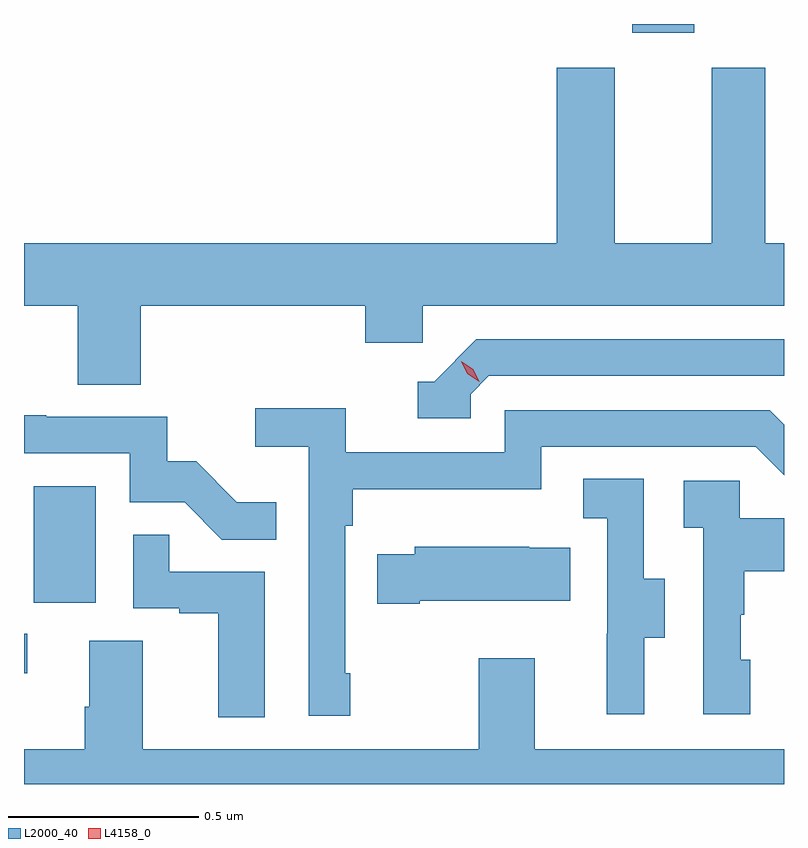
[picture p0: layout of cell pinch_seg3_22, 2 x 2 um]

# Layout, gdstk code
import gdstk
lib = gdstk.Library(unit=1e-6, precision=1e-09)
def R(c, l, rs):  # rectangles x0, y0, x1, y1
    for r in rs: c.add(gdstk.rectangle(r[:2], r[2:], *l))
def P(c, l, *ps):  # polygons
    for p in ps: c.add(gdstk.Polygon(p, *l))
L2000_40 = (2000, 40)
L4158_0 = (4158, 0)

pinch_seg3_22 = lib.new_cell('pinch_seg3_22')
R(pinch_seg3_22, L2000_40, [(1097.917,731.916,1097.926,732.021), (1097.942,732.102,1098.106,732.409), (1099.517,733.602,1099.681,733.625)])
P(pinch_seg3_22, L2000_40, [(1098.224,732.884),(1098.815,732.884),(1098.815,732.786),(1098.966,732.786),(1098.966,732.884),(1099.917,732.884),(1099.917,733.048),(1099.867,733.048),(1099.867,733.51),(1099.727,733.51),(1099.727,733.048),(1099.471,733.048),(1099.471,733.51),(1099.319,733.51),(1099.319,733.048),(1097.917,733.048),(1097.917,732.884),(1098.059,732.884),(1098.059,732.676),(1098.224,732.676)],
  [(1099.092,732.651),(1099.14,732.699),(1099.917,732.699),(1099.917,732.795),(1099.107,732.795),(1098.996,732.684),(1098.953,732.684),(1098.953,732.588),(1099.092,732.588)],
  [(1098.775,731.917),(1098.762,731.917),(1098.762,732.305),(1098.782,732.305),(1098.782,732.401),(1099.278,732.401),(1099.278,732.513),(1099.842,732.513),(1099.917,732.438),(1099.917,732.571),(1099.879,732.609),(1099.182,732.609),(1099.182,732.498),(1098.764,732.498),(1098.764,732.614),(1098.525,732.614),(1098.525,732.512),(1098.666,732.512),(1098.666,731.805),(1098.775,731.805)],
  [(1098.581,732.367),(1098.477,732.367),(1098.37,732.474),(1098.294,732.474),(1098.294,732.591),(1097.975,732.591),(1097.975,732.596),(1097.917,732.596),(1097.917,732.495),(1098.195,732.495),(1098.195,732.366),(1098.34,732.366),(1098.438,732.268),(1098.581,732.268)],
  [(1099.549,732.01),(1099.603,732.01),(1099.603,732.165),(1099.548,732.165),(1099.548,732.428),(1099.389,732.428),(1099.389,732.325),(1099.452,732.325),(1099.452,732.021),(1099.451,732.021),(1099.451,731.808),(1099.549,731.808)],
  [(1099.828,731.952),(1099.803,731.952),(1099.803,732.071),(1099.813,732.071),(1099.813,732.185),(1099.917,732.185),(1099.917,732.325),(1099.8,732.325),(1099.8,732.423),(1099.653,732.423),(1099.653,732.299),(1099.704,732.299),(1099.704,731.808),(1099.828,731.808)],
  [(1098.55,732.183),(1098.299,732.183),(1098.299,732.281),(1098.204,732.281),(1098.204,732.087),(1098.325,732.087),(1098.325,732.075),(1098.428,732.075),(1098.428,731.801),(1098.55,731.801)],
  [(1098.958,732.107),(1099.355,732.107),(1099.355,732.247),(1099.247,732.247),(1099.247,732.25),(1098.945,732.25),(1098.945,732.229),(1098.847,732.229),(1098.847,732.1),(1098.958,732.1)],
  [(1099.917,731.716),(1099.261,731.716),(1099.261,731.956),(1099.114,731.956),(1099.114,731.716),(1098.229,731.716),(1098.229,732.002),(1098.089,732.002),(1098.089,731.828),(1098.077,731.828),(1098.077,731.716),(1097.917,731.716),(1097.917,731.625),(1099.917,731.625)])
P(pinch_seg3_22, L4158_0, [(1099.115,732.684),(1099.084,732.704),(1099.068,732.737),(1099.068,732.737),(1099.068,732.737),(1099.099,732.717),(1099.115,732.684),(1099.115,732.684)])

lib.write_gds('pinch_seg3_22.gds')
